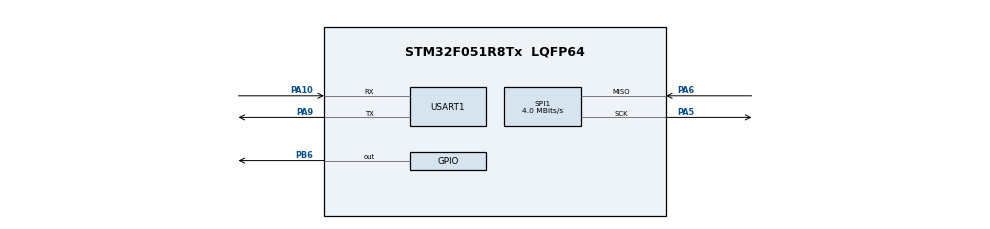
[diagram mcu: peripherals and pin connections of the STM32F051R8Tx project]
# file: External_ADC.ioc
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Mcu.Family=STM32F0
Mcu.Name=STM32F051R8Tx
Mcu.Package=LQFP64
PA10.Mode=Asynchronous
PA10.Signal=USART1_RX
PA5.Mode=RX_Only_Simplex_Unidirect_Master
PA5.Signal=SPI1_SCK
PA6.Mode=RX_Only_Simplex_Unidirect_Master
PA6.Signal=SPI1_MISO
PA9.Mode=Asynchronous
PA9.Signal=USART1_TX
PB6.Signal=GPIO_Output
ProjectManager.HeapSize=0x200
ProjectManager.StackSize=0x400
ProjectManager.TargetToolchain=STM32CubeIDE
SPI1.BaudRatePrescaler=SPI_BAUDRATEPRESCALER_2
SPI1.CLKPhase=SPI_PHASE_1EDGE
SPI1.CLKPolarity=SPI_POLARITY_HIGH
SPI1.CalculateBaudRate=4.0 MBits/s
SPI1.DataSize=SPI_DATASIZE_16BIT
SPI1.Direction=SPI_DIRECTION_2LINES_RXONLY
SPI1.FirstBit=SPI_FIRSTBIT_MSB
SPI1.Mode=SPI_MODE_MASTER
SPI1.VirtualType=VM_MASTER
USART1.VirtualMode-Asynchronous=VM_ASYNC
board=custom

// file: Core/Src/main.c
/* USER CODE BEGIN Header */
/**
  ******************************************************************************
  * @file           : main.c
  * @brief          : Main program body
  ******************************************************************************
  * @attention
  *
  * Copyright (c) 2023 STMicroelectronics.
  * All rights reserved.
  *
  * This software is licensed under terms that can be found in the LICENSE file
  * in the root directory of this software component.
  * If no LICENSE file comes with this software, it is provided AS-IS.
  *
  ******************************************************************************
  */
/* USER CODE END Header */
#include "main.h"

/* USER CODE BEGIN Includes */
#include <stdio.h>
#include <stdlib.h>
#include <string.h>
/* USER CODE END Includes */

SPI_HandleTypeDef hspi1;

UART_HandleTypeDef huart1;

void SystemClock_Config(void);
static void MX_GPIO_Init(void);
static void MX_SPI1_Init(void);
static void MX_USART1_UART_Init(void);

int main(void)
{
  /* USER CODE BEGIN 1 */

	const int WRITE = 0x1;
	int raw = 0;
	float rawfloat = 0;
	float voltage = 0;
	char buffer[20];
	int rawbufferlength = 0;
	int voltbufferlength = 0;

  /* USER CODE END 1 */

  /* MCU Configuration--------------------------------------------------------*/

  /* Reset of all peripherals, Initializes the Flash interface and the Systick. */
  HAL_Init();

  /* Configure the system clock */
  SystemClock_Config();

  /* Initialize all configured peripherals */
  MX_GPIO_Init();
  MX_SPI1_Init();
  MX_USART1_UART_Init();

  /* Infinite loop */
  /* USER CODE BEGIN WHILE */
  while (1)
  {

	  HAL_GPIO_WritePin(GPIOB, GPIO_PIN_6, GPIO_PIN_RESET);

	  HAL_SPI_Transmit(&hspi1, (uint8_t*) &WRITE, 1, 1);
	  while (!(SPI1->SR));
	  raw = SPI1->DR;

	  /*
	  uint8_t MSB = ((raw & 0xFF00) >> 8);
	  uint8_t LSB = (raw & 0x00FF);
	  raw = 0x0;
	  raw = (raw | LSB);
	  raw = raw << 8;
	  raw = raw | MSB;
      */

	  HAL_GPIO_WritePin(GPIOB, GPIO_PIN_6, GPIO_PIN_SET);

	  rawbufferlength = sprintf(buffer, "  Raw Value: %d\r\n", raw);
	  HAL_UART_Transmit(&huart1, (uint8_t *)buffer, rawbufferlength, 100);

	  rawfloat = raw;

	  voltage = (rawfloat / 65536) * 5;

	  voltbufferlength = sprintf(buffer, "ADC Voltage: %f\r\n\n", voltage);
	  HAL_UART_Transmit(&huart1, (uint8_t *)buffer, voltbufferlength, 100);

	  HAL_Delay(50);

    /* USER CODE END WHILE */

  }
}

void SystemClock_Config(void)
{
  RCC_OscInitTypeDef RCC_OscInitStruct = {0};
  RCC_ClkInitTypeDef RCC_ClkInitStruct = {0};
  RCC_PeriphCLKInitTypeDef PeriphClkInit = {0};

  /** Initializes the RCC Oscillators according to the specified parameters
  * in the RCC_OscInitTypeDef structure.
  */
  RCC_OscInitStruct.OscillatorType = RCC_OSCILLATORTYPE_HSI;
  RCC_OscInitStruct.HSIState = RCC_HSI_ON;
  RCC_OscInitStruct.HSICalibrationValue = RCC_HSICALIBRATION_DEFAULT;
  RCC_OscInitStruct.PLL.PLLState = RCC_PLL_NONE;
  if (HAL_RCC_OscConfig(&RCC_OscInitStruct) != HAL_OK)
  {
    Error_Handler();
  }

  /** Initializes the CPU, AHB and APB buses clocks
  */
  RCC_ClkInitStruct.ClockType = RCC_CLOCKTYPE_HCLK|RCC_CLOCKTYPE_SYSCLK
                              |RCC_CLOCKTYPE_PCLK1;
  RCC_ClkInitStruct.SYSCLKSource = RCC_SYSCLKSOURCE_HSI;
  RCC_ClkInitStruct.AHBCLKDivider = RCC_SYSCLK_DIV1;
  RCC_ClkInitStruct.APB1CLKDivider = RCC_HCLK_DIV1;

  if (HAL_RCC_ClockConfig(&RCC_ClkInitStruct, FLASH_LATENCY_0) != HAL_OK)
  {
    Error_Handler();
  }
  PeriphClkInit.PeriphClockSelection = RCC_PERIPHCLK_USART1;
  PeriphClkInit.Usart1ClockSelection = RCC_USART1CLKSOURCE_PCLK1;
  if (HAL_RCCEx_PeriphCLKConfig(&PeriphClkInit) != HAL_OK)
  {
    Error_Handler();
  }
}

static void MX_SPI1_Init(void)
{

  /* SPI1 parameter configuration*/
  hspi1.Instance = SPI1;
  hspi1.Init.Mode = SPI_MODE_MASTER;
  hspi1.Init.Direction = SPI_DIRECTION_2LINES_RXONLY;
  hspi1.Init.DataSize = SPI_DATASIZE_16BIT;
  hspi1.Init.CLKPolarity = SPI_POLARITY_HIGH;
  hspi1.Init.CLKPhase = SPI_PHASE_1EDGE;
  hspi1.Init.NSS = SPI_NSS_SOFT;
  hspi1.Init.BaudRatePrescaler = SPI_BAUDRATEPRESCALER_2;
  hspi1.Init.FirstBit = SPI_FIRSTBIT_MSB;
  hspi1.Init.TIMode = SPI_TIMODE_DISABLE;
  hspi1.Init.CRCCalculation = SPI_CRCCALCULATION_DISABLE;
  hspi1.Init.CRCPolynomial = 7;
  hspi1.Init.CRCLength = SPI_CRC_LENGTH_DATASIZE;
  hspi1.Init.NSSPMode = SPI_NSS_PULSE_ENABLE;
  if (HAL_SPI_Init(&hspi1) != HAL_OK)
  {
    Error_Handler();
  }

}

static void MX_USART1_UART_Init(void)
{

  huart1.Instance = USART1;
  huart1.Init.BaudRate = 38400;
  huart1.Init.WordLength = UART_WORDLENGTH_8B;
  huart1.Init.StopBits = UART_STOPBITS_1;
  huart1.Init.Parity = UART_PARITY_NONE;
  huart1.Init.Mode = UART_MODE_TX_RX;
  huart1.Init.HwFlowCtl = UART_HWCONTROL_NONE;
  huart1.Init.OverSampling = UART_OVERSAMPLING_16;
  huart1.Init.OneBitSampling = UART_ONE_BIT_SAMPLE_DISABLE;
  huart1.AdvancedInit.AdvFeatureInit = UART_ADVFEATURE_NO_INIT;
  if (HAL_UART_Init(&huart1) != HAL_OK)
  {
    Error_Handler();
  }

}

static void MX_GPIO_Init(void)
{
  GPIO_InitTypeDef GPIO_InitStruct = {0};

  /* GPIO Ports Clock Enable */
  __HAL_RCC_GPIOA_CLK_ENABLE();
  __HAL_RCC_GPIOB_CLK_ENABLE();

  /*Configure GPIO pin Output Level */
  HAL_GPIO_WritePin(GPIOB, GPIO_PIN_6, GPIO_PIN_RESET);

  /*Configure GPIO pin : PB6 */
  GPIO_InitStruct.Pin = GPIO_PIN_6;
  GPIO_InitStruct.Mode = GPIO_MODE_OUTPUT_PP;
  GPIO_InitStruct.Pull = GPIO_NOPULL;
  GPIO_InitStruct.Speed = GPIO_SPEED_FREQ_LOW;
  HAL_GPIO_Init(GPIOB, &GPIO_InitStruct);

}

void Error_Handler(void)
{
  __disable_irq();
  while (1)
  {
  }
}
